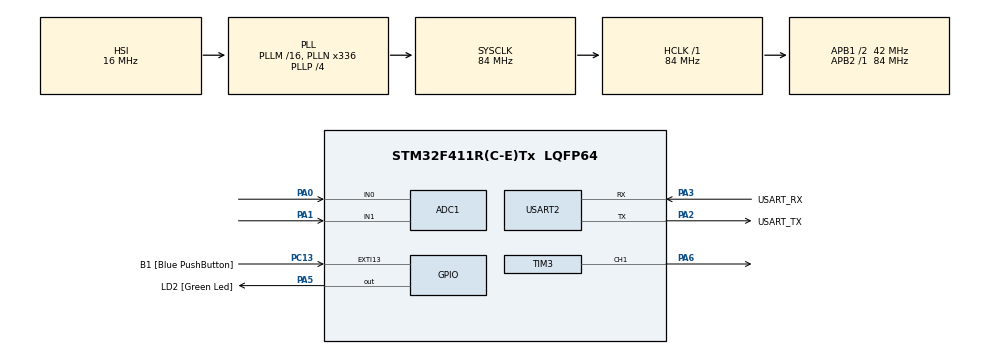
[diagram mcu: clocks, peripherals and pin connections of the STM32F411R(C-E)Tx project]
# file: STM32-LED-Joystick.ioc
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ADC1.Channel-0\#ChannelRegularConversion=ADC_CHANNEL_0
ADC1.Channel-1\#ChannelRegularConversion=ADC_CHANNEL_1
ADC1.NbrOfConversion=2
ADC1.NbrOfConversionFlag=1
ADC1.Rank-0\#ChannelRegularConversion=1
ADC1.Rank-1\#ChannelRegularConversion=2
ADC1.SamplingTime-0\#ChannelRegularConversion=ADC_SAMPLETIME_480CYCLES
ADC1.SamplingTime-1\#ChannelRegularConversion=ADC_SAMPLETIME_480CYCLES
ADC1.ScanConvMode=ENABLE
ADC1.master=1
Dma.Request0=TIM3_CH1/TRIG
Dma.TIM3_CH1/TRIG.0.Direction=DMA_MEMORY_TO_PERIPH
Dma.TIM3_CH1/TRIG.0.FIFOMode=DMA_FIFOMODE_DISABLE
Dma.TIM3_CH1/TRIG.0.Instance=DMA1_Stream4
Dma.TIM3_CH1/TRIG.0.MemDataAlignment=DMA_MDATAALIGN_WORD
Dma.TIM3_CH1/TRIG.0.MemInc=DMA_MINC_ENABLE
Dma.TIM3_CH1/TRIG.0.Mode=DMA_NORMAL
Dma.TIM3_CH1/TRIG.0.PeriphDataAlignment=DMA_PDATAALIGN_WORD
Dma.TIM3_CH1/TRIG.0.PeriphInc=DMA_PINC_DISABLE
Dma.TIM3_CH1/TRIG.0.Priority=DMA_PRIORITY_LOW
Mcu.Family=STM32F4
Mcu.Name=STM32F411R(C-E)Tx
Mcu.Package=LQFP64
NVIC.ADC_IRQn=true\:0\:0\:false\:false\:true\:true\:true\:true
NVIC.DMA1_Stream4_IRQn=true\:0\:0\:false\:false\:true\:false\:true\:true
NVIC.PriorityGroup=NVIC_PRIORITYGROUP_0
PA0-WKUP.Signal=ADCx_IN0
PA1.Signal=ADCx_IN1
PA13.GPIO_Label=TMS
PA13.Mode=Serial_Wire
PA13.Signal=SYS_JTMS-SWDIO
PA14.GPIO_Label=TCK
PA14.Mode=Serial_Wire
PA14.Signal=SYS_JTCK-SWCLK
PA2.GPIO_Label=USART_TX
PA2.Mode=Asynchronous
PA2.Signal=USART2_TX
PA3.GPIO_Label=USART_RX
PA3.Mode=Asynchronous
PA3.Signal=USART2_RX
PA5.GPIO_Label=LD2 [Green Led]
PA5.Signal=GPIO_Output
PA6.Signal=S_TIM3_CH1
PB3.GPIO_Label=SWO
PB3.Signal=SYS_JTDO-SWO
PC13-ANTI_TAMP.GPIO_Label=B1 [Blue PushButton]
PC13-ANTI_TAMP.GPIO_ModeDefaultEXTI=GPIO_MODE_IT_FALLING
PC13-ANTI_TAMP.Signal=GPXTI13
PC14-OSC32_IN.Mode=LSE-External-Oscillator
PC14-OSC32_IN.Signal=RCC_OSC32_IN
PC15-OSC32_OUT.Mode=LSE-External-Oscillator
PC15-OSC32_OUT.Signal=RCC_OSC32_OUT
PH0\ -\ OSC_IN.Mode=HSE-External-Clock-Source
PH0\ -\ OSC_IN.Signal=RCC_OSC_IN
PH1\ -\ OSC_OUT.Mode=HSE-External-Clock-Source
PH1\ -\ OSC_OUT.Signal=RCC_OSC_OUT
ProjectManager.HeapSize=0x200
ProjectManager.StackSize=0x400
ProjectManager.TargetToolchain=STM32CubeIDE
RCC.48MHZClocksFreq_Value=84000000
RCC.AHBFreq_Value=84000000
RCC.APB1CLKDivider=RCC_HCLK_DIV2
RCC.APB1Freq_Value=42000000
RCC.APB1TimFreq_Value=84000000
RCC.APB2Freq_Value=84000000
RCC.APB2TimFreq_Value=84000000
RCC.CortexFreq_Value=84000000
RCC.FLatency-AdvancedSettings=FLASH_LATENCY_2
RCC.HCLKFreq_Value=84000000
RCC.HSE_VALUE=8000000
RCC.HSI_VALUE=16000000
RCC.PLLN=336
RCC.PLLP=RCC_PLLP_DIV4
RCC.SYSCLKFreq_VALUE=84000000
RCC.SYSCLKSource=RCC_SYSCLKSOURCE_PLLCLK
RCC.VCOOutputFreq_Value=336000000
SH.ADCx_IN0.0=ADC1_IN0,IN0
SH.ADCx_IN1.0=ADC1_IN1,IN1
SH.S_TIM3_CH1.0=TIM3_CH1,PWM Generation1 CH1
TIM3.Channel-PWM\ Generation1\ CH1=TIM_CHANNEL_1
TIM3.Period=104
USART2.VirtualMode=VM_ASYNC
VP_TIM3_VS_ClockSourceINT.Mode=Internal
board=NUCLEO-F411RE

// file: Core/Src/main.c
/* USER CODE BEGIN Header */
/**
 ******************************************************************************
 * @file           : main.c
 * @brief          : Main program body
 ******************************************************************************
 * @attention
 *
 * Copyright (c) 2026 STMicroelectronics.
 * All rights reserved.
 *
 * This software is licensed under terms that can be found in the LICENSE file
 * in the root directory of this software component.
 * If no LICENSE file comes with this software, it is provided AS-IS.
 *
 ******************************************************************************
 */
/* USER CODE END Header */
#include "main.h"

ADC_HandleTypeDef hadc1;

TIM_HandleTypeDef htim3;
DMA_HandleTypeDef hdma_tim3_ch1_trig;

UART_HandleTypeDef huart2;

/* USER CODE BEGIN PV */

#define MAX_LED 8

uint8_t led_data[MAX_LED][3];
uint32_t pwm_data[(MAX_LED * 24) + 50];
uint32_t adc_values[2];

/* USER CODE END PV */

void SystemClock_Config(void);
static void MX_GPIO_Init(void);
static void MX_DMA_Init(void);
static void MX_ADC1_Init(void);
static void MX_USART2_UART_Init(void);
static void MX_TIM3_Init(void);

/* USER CODE BEGIN 0 */

void Set_LED(int led_index, int Red, int Green, int Blue) {
	led_data[led_index][0] = Green;
	led_data[led_index][1] = Red;
	led_data[led_index][2] = Blue;
}

void WS2812_Send(void) {
	uint32_t indx = 0;
	uint32_t color;

	for (int i = 0; i < MAX_LED; i++) {
		color = ((led_data[i][0] << 16) | (led_data[i][1] << 8)
				| (led_data[i][2]));

		for (int b = 23; b >= 0; b--) {
			if (color & (1 << b)) {
				pwm_data[indx] = 68;
			} else {
				pwm_data[indx] = 34;
			}
			indx++;
		}
	}

	for (int i = 0; i < 50; i++) {
		pwm_data[indx] = 0;
		indx++;
	}

	HAL_TIM_PWM_Start_DMA(&htim3, TIM_CHANNEL_1, (uint32_t*) pwm_data, indx);
}

/* USER CODE END 0 */

int main(void) {

	/* MCU Configuration--------------------------------------------------------*/

	/* Reset of all peripherals, Initializes the Flash interface and the Systick. */
	HAL_Init();

	/* Configure the system clock */
	SystemClock_Config();

	/* Initialize all configured peripherals */
	MX_GPIO_Init();
	MX_DMA_Init();
	MX_ADC1_Init();
	MX_USART2_UART_Init();
	MX_TIM3_Init();

	/* Infinite loop */
	/* USER CODE BEGIN WHILE */
	while (1) {
		HAL_ADC_Start_IT(&hadc1);
		HAL_Delay(20);

		uint32_t x_val = adc_values[0];
		uint8_t active_led = x_val / 512;

		if (active_led >= MAX_LED) {
			active_led = MAX_LED - 1;
		}

		for(int i = 0; i < MAX_LED; i++)
		{
			Set_LED(i, 0, 0, 0);
		}

		Set_LED(active_led, 255, 0, 0);
		WS2812_Send();

		/* USER CODE END WHILE */

	}
}

void SystemClock_Config(void) {
	RCC_OscInitTypeDef RCC_OscInitStruct = { 0 };
	RCC_ClkInitTypeDef RCC_ClkInitStruct = { 0 };

	/** Configure the main internal regulator output voltage
	 */
	__HAL_RCC_PWR_CLK_ENABLE();
	__HAL_PWR_VOLTAGESCALING_CONFIG(PWR_REGULATOR_VOLTAGE_SCALE1);

	/** Initializes the RCC Oscillators according to the specified parameters
	 * in the RCC_OscInitTypeDef structure.
	 */
	RCC_OscInitStruct.OscillatorType = RCC_OSCILLATORTYPE_HSI;
	RCC_OscInitStruct.HSIState = RCC_HSI_ON;
	RCC_OscInitStruct.HSICalibrationValue = RCC_HSICALIBRATION_DEFAULT;
	RCC_OscInitStruct.PLL.PLLState = RCC_PLL_ON;
	RCC_OscInitStruct.PLL.PLLSource = RCC_PLLSOURCE_HSI;
	RCC_OscInitStruct.PLL.PLLM = 16;
	RCC_OscInitStruct.PLL.PLLN = 336;
	RCC_OscInitStruct.PLL.PLLP = RCC_PLLP_DIV4;
	RCC_OscInitStruct.PLL.PLLQ = 4;
	if (HAL_RCC_OscConfig(&RCC_OscInitStruct) != HAL_OK) {
		Error_Handler();
	}

	/** Initializes the CPU, AHB and APB buses clocks
	 */
	RCC_ClkInitStruct.ClockType = RCC_CLOCKTYPE_HCLK | RCC_CLOCKTYPE_SYSCLK
			| RCC_CLOCKTYPE_PCLK1 | RCC_CLOCKTYPE_PCLK2;
	RCC_ClkInitStruct.SYSCLKSource = RCC_SYSCLKSOURCE_PLLCLK;
	RCC_ClkInitStruct.AHBCLKDivider = RCC_SYSCLK_DIV1;
	RCC_ClkInitStruct.APB1CLKDivider = RCC_HCLK_DIV2;
	RCC_ClkInitStruct.APB2CLKDivider = RCC_HCLK_DIV1;

	if (HAL_RCC_ClockConfig(&RCC_ClkInitStruct, FLASH_LATENCY_2) != HAL_OK) {
		Error_Handler();
	}
}

static void MX_ADC1_Init(void) {

	ADC_ChannelConfTypeDef sConfig = { 0 };

	/** Configure the global features of the ADC (Clock, Resolution, Data Alignment and number of conversion)
	 */
	hadc1.Instance = ADC1;
	hadc1.Init.ClockPrescaler = ADC_CLOCK_SYNC_PCLK_DIV4;
	hadc1.Init.Resolution = ADC_RESOLUTION_12B;
	hadc1.Init.ScanConvMode = ENABLE;
	hadc1.Init.ContinuousConvMode = DISABLE;
	hadc1.Init.DiscontinuousConvMode = DISABLE;
	hadc1.Init.ExternalTrigConvEdge = ADC_EXTERNALTRIGCONVEDGE_NONE;
	hadc1.Init.ExternalTrigConv = ADC_SOFTWARE_START;
	hadc1.Init.DataAlign = ADC_DATAALIGN_RIGHT;
	hadc1.Init.NbrOfConversion = 2;
	hadc1.Init.DMAContinuousRequests = DISABLE;
	hadc1.Init.EOCSelection = ADC_EOC_SINGLE_CONV;
	if (HAL_ADC_Init(&hadc1) != HAL_OK) {
		Error_Handler();
	}

	/** Configure for the selected ADC regular channel its corresponding rank in the sequencer and its sample time.
	 */
	sConfig.Channel = ADC_CHANNEL_0;
	sConfig.Rank = 1;
	sConfig.SamplingTime = ADC_SAMPLETIME_480CYCLES;
	if (HAL_ADC_ConfigChannel(&hadc1, &sConfig) != HAL_OK) {
		Error_Handler();
	}

	/** Configure for the selected ADC regular channel its corresponding rank in the sequencer and its sample time.
	 */
	sConfig.Channel = ADC_CHANNEL_1;
	sConfig.Rank = 2;
	if (HAL_ADC_ConfigChannel(&hadc1, &sConfig) != HAL_OK) {
		Error_Handler();
	}

}

static void MX_TIM3_Init(void) {

	TIM_ClockConfigTypeDef sClockSourceConfig = { 0 };
	TIM_MasterConfigTypeDef sMasterConfig = { 0 };
	TIM_OC_InitTypeDef sConfigOC = { 0 };

	htim3.Instance = TIM3;
	htim3.Init.Prescaler = 0;
	htim3.Init.CounterMode = TIM_COUNTERMODE_UP;
	htim3.Init.Period = 104;
	htim3.Init.ClockDivision = TIM_CLOCKDIVISION_DIV1;
	htim3.Init.AutoReloadPreload = TIM_AUTORELOAD_PRELOAD_DISABLE;
	if (HAL_TIM_Base_Init(&htim3) != HAL_OK) {
		Error_Handler();
	}
	sClockSourceConfig.ClockSource = TIM_CLOCKSOURCE_INTERNAL;
	if (HAL_TIM_ConfigClockSource(&htim3, &sClockSourceConfig) != HAL_OK) {
		Error_Handler();
	}
	if (HAL_TIM_PWM_Init(&htim3) != HAL_OK) {
		Error_Handler();
	}
	sMasterConfig.MasterOutputTrigger = TIM_TRGO_RESET;
	sMasterConfig.MasterSlaveMode = TIM_MASTERSLAVEMODE_DISABLE;
	if (HAL_TIMEx_MasterConfigSynchronization(&htim3, &sMasterConfig)
			!= HAL_OK) {
		Error_Handler();
	}
	sConfigOC.OCMode = TIM_OCMODE_PWM1;
	sConfigOC.Pulse = 0;
	sConfigOC.OCPolarity = TIM_OCPOLARITY_HIGH;
	sConfigOC.OCFastMode = TIM_OCFAST_DISABLE;
	if (HAL_TIM_PWM_ConfigChannel(&htim3, &sConfigOC, TIM_CHANNEL_1)
			!= HAL_OK) {
		Error_Handler();
	}
	HAL_TIM_MspPostInit(&htim3);

}

static void MX_USART2_UART_Init(void) {

	huart2.Instance = USART2;
	huart2.Init.BaudRate = 115200;
	huart2.Init.WordLength = UART_WORDLENGTH_8B;
	huart2.Init.StopBits = UART_STOPBITS_1;
	huart2.Init.Parity = UART_PARITY_NONE;
	huart2.Init.Mode = UART_MODE_TX_RX;
	huart2.Init.HwFlowCtl = UART_HWCONTROL_NONE;
	huart2.Init.OverSampling = UART_OVERSAMPLING_16;
	if (HAL_UART_Init(&huart2) != HAL_OK) {
		Error_Handler();
	}

}

static void MX_DMA_Init(void) {

	/* DMA controller clock enable */
	__HAL_RCC_DMA1_CLK_ENABLE();

	/* DMA interrupt init */
	/* DMA1_Stream4_IRQn interrupt configuration */
	HAL_NVIC_SetPriority(DMA1_Stream4_IRQn, 0, 0);
	HAL_NVIC_EnableIRQ(DMA1_Stream4_IRQn);

}

static void MX_GPIO_Init(void) {
	GPIO_InitTypeDef GPIO_InitStruct = { 0 };

	/* GPIO Ports Clock Enable */
	__HAL_RCC_GPIOC_CLK_ENABLE();
	__HAL_RCC_GPIOH_CLK_ENABLE();
	__HAL_RCC_GPIOA_CLK_ENABLE();
	__HAL_RCC_GPIOB_CLK_ENABLE();

	/*Configure GPIO pin Output Level */
	HAL_GPIO_WritePin(LD2_GPIO_Port, LD2_Pin, GPIO_PIN_RESET);

	/*Configure GPIO pin : B1_Pin */
	GPIO_InitStruct.Pin = B1_Pin;
	GPIO_InitStruct.Mode = GPIO_MODE_IT_FALLING;
	GPIO_InitStruct.Pull = GPIO_NOPULL;
	HAL_GPIO_Init(B1_GPIO_Port, &GPIO_InitStruct);

	/*Configure GPIO pin : LD2_Pin */
	GPIO_InitStruct.Pin = LD2_Pin;
	GPIO_InitStruct.Mode = GPIO_MODE_OUTPUT_PP;
	GPIO_InitStruct.Pull = GPIO_NOPULL;
	GPIO_InitStruct.Speed = GPIO_SPEED_FREQ_LOW;
	HAL_GPIO_Init(LD2_GPIO_Port, &GPIO_InitStruct);

}

/* USER CODE BEGIN 4 */

uint8_t current_channel = 0;

void HAL_ADC_ConvCpltCallback(ADC_HandleTypeDef *hadc) {
	if (hadc->Instance == ADC1) {
		adc_values[current_channel] = HAL_ADC_GetValue(hadc);

		current_channel++;
		if (current_channel >= 2) {
			current_channel = 0;
		}
	}
}

/* USER CODE END 4 */

void Error_Handler(void) {
	__disable_irq();
	while (1) {
	}
}
